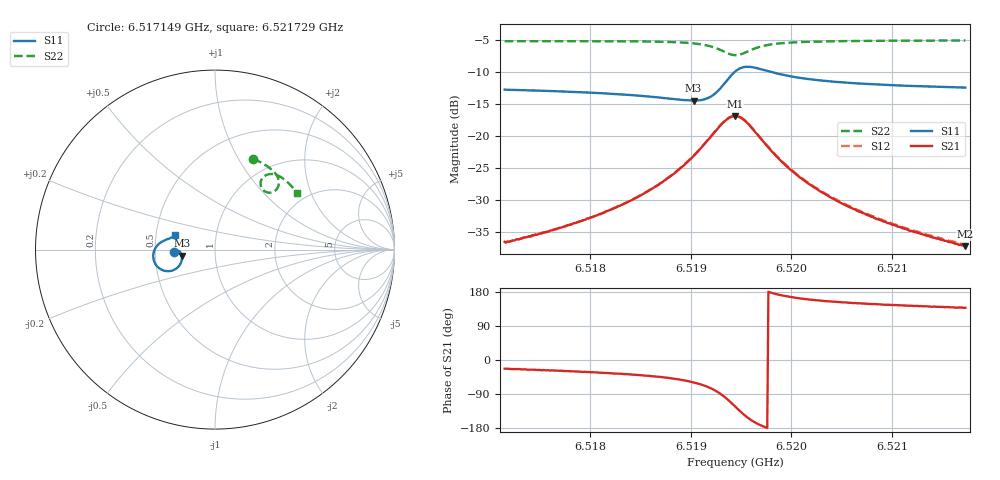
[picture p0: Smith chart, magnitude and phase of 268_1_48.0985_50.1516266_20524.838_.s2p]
#  HZ  S  RI  R  50.00
! Rohde & Schwarz Vector Network Analyzer
! Rohde-Schwarz,ZNB20-2Port,1311601062101988,3.16
! Created: UTC 12/23/2023, 4:01:28 AM
! freq[Hz]  re:S11  im:S11  re:S21  im:S21  re:S12  im:S12  re:S22  im:S22
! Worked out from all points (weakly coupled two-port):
!   401 points, 6.517149 GHz to 6.521729 GHz, reference 50 ohm
!   highest |S21| = -16.92 dB at 6.519439 GHz (marker M1); lowest = -37.2 dB at 6.521729 GHz (marker M2)
!   lowest |S11| = -14.5 dB at 6.519027 GHz (marker M3), VSWR 1.46, Z = 34.3 - j2.46 ohm
!   |S11| at or under -10 dB: start of sweep to 6.519437 GHz; 6.519793 GHz to end of sweep
!   |S22| runs from -7.4 to -5.1 dB; largest |S21 - S12| = 0.0044
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6.5171487e9  -0.2293 -0.014  0.0137 -0.00579  0.0136 -0.00524  0.2137 0.5052
6.5175609e9  -0.2244 -0.00823  0.0157 -0.00806  0.016 -0.00754  0.2441 0.4916
6.5179159e9  -0.219 -0.00441  0.0185 -0.0113  0.0189 -0.0106  0.2702 0.4776
6.5183396e9  -0.21 -0.003  0.0235 -0.0179  0.0243 -0.0171  0.3021 0.4569
6.5186832e9  -0.199 -0.00828  0.0296 -0.0293  0.0308 -0.0285  0.3288 0.4332
6.5188435e9  -0.1926 -0.016  0.0332 -0.0392  0.0347 -0.0385  0.3412 0.4177
6.5190267e9  -0.1854 -0.0346  0.0358 -0.0596  0.0379 -0.0588  0.3535 0.3919
6.5191298e9  -0.1847 -0.054  0.0331 -0.0784  0.0357 -0.0779  0.3561 0.371
6.5192214e9  -0.1924 -0.079  0.0223 -0.1011  0.0254 -0.1012  0.3503 0.3474
6.5193473e9  -0.2369 -0.1162  -0.023 -0.1303  -0.0194 -0.1319  0.3156 0.3189
6.5193932e9  -0.2659 -0.1201  -0.0494 -0.1306  -0.0462 -0.1331  0.2944 0.3181
6.519439e9  -0.2968 -0.1123  -0.0763 -0.1204  -0.0734 -0.1237  0.274 0.3269
6.5194848e9  -0.3225 -0.0931  -0.0972 -0.1007  -0.095 -0.1043  0.2594 0.3437
6.519542e9  -0.3407 -0.0604  -0.1096 -0.0704  -0.1086 -0.0741  0.2536 0.369
6.5196336e9  -0.341 -0.0131  -0.1046 -0.0297  -0.1047 -0.033  0.2659 0.4008
6.5197367e9  -0.3246 0.0193  -0.0867 -0.0046  -0.0875 -0.00715  0.2895 0.417
6.5199657e9  -0.2905 0.0471  -0.0553 0.0124  -0.0562 0.011  0.3311 0.4191
6.5202062e9  -0.2695 0.0564  -0.0377 0.0146  -0.0386 0.0137  0.3601 0.4079
6.5205268e9  -0.2532 0.0625  -0.0256 0.0137  -0.0263 0.0132  0.3876 0.3898
6.5209734e9  -0.2397 0.069  -0.0171 0.0117  -0.0176 0.0114  0.4171 0.363
6.5213513e9  -0.2316 0.0741  -0.013 0.0103  -0.0134 0.0102  0.4384 0.3401
6.5217292e9  -0.2247 0.0792  -0.0102 0.00923  -0.0106 0.00927  0.4569 0.3167
